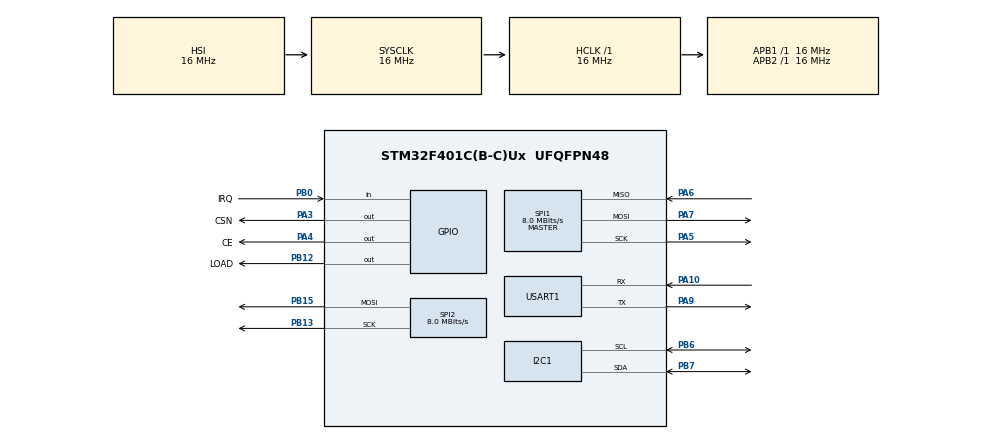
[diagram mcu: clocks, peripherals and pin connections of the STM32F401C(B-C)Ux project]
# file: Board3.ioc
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Mcu.Family=STM32F4
Mcu.Name=STM32F401C(B-C)Ux
Mcu.Package=UFQFPN48
NVIC.PriorityGroup=NVIC_PRIORITYGROUP_4
PA10.Mode=Asynchronous
PA10.Signal=USART1_RX
PA13.Mode=Serial_Wire
PA13.Signal=SYS_JTMS-SWDIO
PA14.Mode=Serial_Wire
PA14.Signal=SYS_JTCK-SWCLK
PA3.GPIO_Label=CSN
PA3.Signal=GPIO_Output
PA4.GPIO_Label=CE
PA4.Signal=GPIO_Output
PA5.Mode=Full_Duplex_Master
PA5.Signal=SPI1_SCK
PA6.Mode=Full_Duplex_Master
PA6.Signal=SPI1_MISO
PA7.Mode=Full_Duplex_Master
PA7.Signal=SPI1_MOSI
PA9.Mode=Asynchronous
PA9.Signal=USART1_TX
PB0.GPIO_Label=IRQ
PB0.Signal=GPIO_Input
PB12.GPIO_Label=LOAD
PB12.Signal=GPIO_Output
PB13.Mode=TX_Only_Simplex_Unidirect_Master
PB13.Signal=SPI2_SCK
PB15.Mode=TX_Only_Simplex_Unidirect_Master
PB15.Signal=SPI2_MOSI
PB6.Mode=I2C
PB6.Signal=I2C1_SCL
PB7.Mode=I2C
PB7.Signal=I2C1_SDA
ProjectManager.HeapSize=0x200
ProjectManager.StackSize=0x400
ProjectManager.TargetToolchain=STM32CubeIDE
RCC.AHBFreq_Value=16000000
RCC.APB1Freq_Value=16000000
RCC.APB2Freq_Value=16000000
RCC.CortexFreq_Value=16000000
RCC.HSE_VALUE=25000000
RCC.HSI_VALUE=16000000
RCC.LSE_VALUE=32768
RCC.SYSCLKFreq_VALUE=16000000
RCC.VCOOutputFreq_Value=192000000
SPI1.CalculateBaudRate=8.0 MBits/s
SPI1.Direction=SPI_DIRECTION_2LINES
SPI1.Mode=SPI_MODE_MASTER
SPI1.VirtualType=VM_MASTER
SPI2.CalculateBaudRate=8.0 MBits/s
SPI2.Direction=SPI_DIRECTION_2LINES
SPI2.Mode=SPI_MODE_MASTER
SPI2.VirtualType=VM_MASTER
USART1.VirtualMode=VM_ASYNC
board=custom

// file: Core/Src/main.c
/* USER CODE BEGIN Header */
/**
  ******************************************************************************
  * @file           : main.c
  * @brief          : Main program body
  ******************************************************************************
  * @attention
  *
  * Copyright (c) 2025 STMicroelectronics.
  * All rights reserved.
  *
  * This software is licensed under terms that can be found in the LICENSE file
  * in the root directory of this software component.
  * If no LICENSE file comes with this software, it is provided AS-IS.
  *
  ******************************************************************************
  */
/* USER CODE END Header */
#include "main.h"

/* USER CODE BEGIN Includes */
#include "NRF24L01.h"
#include "string.h"
#include "max7219.h"
#include <stdio.h>

/* USER CODE END Includes */

I2C_HandleTypeDef hi2c1;

SPI_HandleTypeDef hspi1;
SPI_HandleTypeDef hspi2;

UART_HandleTypeDef huart1;

void SystemClock_Config(void);
static void MX_GPIO_Init(void);
static void MX_I2C1_Init(void);
static void MX_SPI1_Init(void);
static void MX_USART1_UART_Init(void);
static void MX_SPI2_Init(void);

/* USER CODE BEGIN 0 */
uint8_t RxAddress[5] = {0xEE, 0xDD, 0xCC, 0xBB, 0xAA};
uint8_t RxData[32];
float recvValue;

uint8_t data[50];
/* USER CODE END 0 */

int main(void)
{

  /* MCU Configuration--------------------------------------------------------*/

  /* Reset of all peripherals, Initializes the Flash interface and the Systick. */
  HAL_Init();

  /* Configure the system clock */
  SystemClock_Config();

  /* USER CODE BEGIN SysInit */
  HAL_Delay(100);
  max7219_Init(5);
  max7219_Decode_On();
  /* USER CODE END SysInit */

  /* Initialize all configured peripherals */
  MX_GPIO_Init();
  MX_I2C1_Init();
  MX_SPI1_Init();
  MX_USART1_UART_Init();
  MX_SPI2_Init();
  /* USER CODE BEGIN 2 */
  HAL_Delay(10);
  NRF24_Init();

  NRF24_RxMode(RxAddress, 10);
  HAL_Delay(5);
//  NRF24_ReadAll(data);
  HAL_GPIO_WritePin(CE_GPIO_Port, CE_Pin, GPIO_PIN_SET);
  max7219_Init(7);
  max7219_Decode_On();

  //

  MAX7219_Digits ds[6] = { DIGIT_6, DIGIT_5, DIGIT_4, DIGIT_3, DIGIT_2, DIGIT_1 };

  for (int i = -2; i < 6 + 2; i++) {
      max7219_Clean();
      for (int j = 0; j < 3; j++) {
          int p = i - j;
          if (p >= 0 && p < 6) max7219_PrintDigit(ds[p], NUM_8, false);
      }
      HAL_Delay(150);
  }

  for (int i = 6 + 1 + 2; i >= -2; i--) {
      max7219_Clean();
      for (int j = 0; j < 3; j++) {
          int p = i - j;
          if (p >= 0 && p < 6) max7219_PrintDigit(ds[p], NUM_8, false);
      }
      HAL_Delay(150);
  }

  max7219_Clean();
  for (int i = 0; i < 6; i++)
      max7219_PrintDigit(ds[i], NUM_0, 1);
  HAL_Delay(1000);

  //////

//  HAL_Delay(5000);
  /* USER CODE END 2 */

  /* Infinite loop */
  /* USER CODE BEGIN WHILE */
  while (1)

  {

	  if (isDataAvailable(2) == 1)
	  	  {
	  		  NRF24_Receive(RxData);

//	  			sprintf(buf,sizeof(buf),"%f",recvValue);

//	  			recvValue=123.45f;

	  		  	RxData[0]='0';
  	  	  	  	max7219_Clean();

				char str[9];
				strncpy(str, (char*)RxData, sizeof(str));
				str[8] = '\0';
  	  			int i = 0;
  	  			int len = strlen(str);
  	  			memmove(str, str + 1, strlen(str));
  	  			MAX7219_Digits displayDigits[6] = {DIGIT_6, DIGIT_5, DIGIT_4, DIGIT_3, DIGIT_2,DIGIT_1};
  	  			int displayIndex = 0;

  	  			while (i < len && displayIndex < 6) {
  	  			    char ch = str[i];
  	  			    if (ch >= '0' && ch <= '9') {
  	  			        bool hasDot = (i + 1 < len && str[i + 1] == '.');
  	  			        max7219_PrintDigit(displayDigits[displayIndex], NUM_0 + (ch - '0'), hasDot);
  	  			        if (hasDot) i++;
  	  			        displayIndex++;
  	  			    } else if (ch == '.') {
  	  			    } else {
  	  			        max7219_PrintDigit(displayDigits[displayIndex], BLANK, false);
  	  			        displayIndex++;
  	  			    }

  	  			    i++;
  	  			}
	  	  }
	  	     HAL_Delay(500);

    /* USER CODE END WHILE */

  }
}

void SystemClock_Config(void)
{
  RCC_OscInitTypeDef RCC_OscInitStruct = {0};
  RCC_ClkInitTypeDef RCC_ClkInitStruct = {0};

  /** Configure the main internal regulator output voltage
  */
  __HAL_RCC_PWR_CLK_ENABLE();
  __HAL_PWR_VOLTAGESCALING_CONFIG(PWR_REGULATOR_VOLTAGE_SCALE2);

  /** Initializes the RCC Oscillators according to the specified parameters
  * in the RCC_OscInitTypeDef structure.
  */
  RCC_OscInitStruct.OscillatorType = RCC_OSCILLATORTYPE_HSI;
  RCC_OscInitStruct.HSIState = RCC_HSI_ON;
  RCC_OscInitStruct.HSICalibrationValue = RCC_HSICALIBRATION_DEFAULT;
  RCC_OscInitStruct.PLL.PLLState = RCC_PLL_NONE;
  if (HAL_RCC_OscConfig(&RCC_OscInitStruct) != HAL_OK)
  {
    Error_Handler();
  }

  /** Initializes the CPU, AHB and APB buses clocks
  */
  RCC_ClkInitStruct.ClockType = RCC_CLOCKTYPE_HCLK|RCC_CLOCKTYPE_SYSCLK
                              |RCC_CLOCKTYPE_PCLK1|RCC_CLOCKTYPE_PCLK2;
  RCC_ClkInitStruct.SYSCLKSource = RCC_SYSCLKSOURCE_HSI;
  RCC_ClkInitStruct.AHBCLKDivider = RCC_SYSCLK_DIV1;
  RCC_ClkInitStruct.APB1CLKDivider = RCC_HCLK_DIV1;
  RCC_ClkInitStruct.APB2CLKDivider = RCC_HCLK_DIV1;

  if (HAL_RCC_ClockConfig(&RCC_ClkInitStruct, FLASH_LATENCY_0) != HAL_OK)
  {
    Error_Handler();
  }
}

static void MX_I2C1_Init(void)
{

  hi2c1.Instance = I2C1;
  hi2c1.Init.ClockSpeed = 100000;
  hi2c1.Init.DutyCycle = I2C_DUTYCYCLE_2;
  hi2c1.Init.OwnAddress1 = 0;
  hi2c1.Init.AddressingMode = I2C_ADDRESSINGMODE_7BIT;
  hi2c1.Init.DualAddressMode = I2C_DUALADDRESS_DISABLE;
  hi2c1.Init.OwnAddress2 = 0;
  hi2c1.Init.GeneralCallMode = I2C_GENERALCALL_DISABLE;
  hi2c1.Init.NoStretchMode = I2C_NOSTRETCH_DISABLE;
  if (HAL_I2C_Init(&hi2c1) != HAL_OK)
  {
    Error_Handler();
  }

}

static void MX_SPI1_Init(void)
{

  /* SPI1 parameter configuration*/
  hspi1.Instance = SPI1;
  hspi1.Init.Mode = SPI_MODE_MASTER;
  hspi1.Init.Direction = SPI_DIRECTION_2LINES;
  hspi1.Init.DataSize = SPI_DATASIZE_8BIT;
  hspi1.Init.CLKPolarity = SPI_POLARITY_LOW;
  hspi1.Init.CLKPhase = SPI_PHASE_1EDGE;
  hspi1.Init.NSS = SPI_NSS_SOFT;
  hspi1.Init.BaudRatePrescaler = SPI_BAUDRATEPRESCALER_2;
  hspi1.Init.FirstBit = SPI_FIRSTBIT_MSB;
  hspi1.Init.TIMode = SPI_TIMODE_DISABLE;
  hspi1.Init.CRCCalculation = SPI_CRCCALCULATION_DISABLE;
  hspi1.Init.CRCPolynomial = 10;
  if (HAL_SPI_Init(&hspi1) != HAL_OK)
  {
    Error_Handler();
  }

}

static void MX_SPI2_Init(void)
{

  /* SPI2 parameter configuration*/
  hspi2.Instance = SPI2;
  hspi2.Init.Mode = SPI_MODE_MASTER;
  hspi2.Init.Direction = SPI_DIRECTION_2LINES;
  hspi2.Init.DataSize = SPI_DATASIZE_8BIT;
  hspi2.Init.CLKPolarity = SPI_POLARITY_LOW;
  hspi2.Init.CLKPhase = SPI_PHASE_1EDGE;
  hspi2.Init.NSS = SPI_NSS_SOFT;
  hspi2.Init.BaudRatePrescaler = SPI_BAUDRATEPRESCALER_2;
  hspi2.Init.FirstBit = SPI_FIRSTBIT_MSB;
  hspi2.Init.TIMode = SPI_TIMODE_DISABLE;
  hspi2.Init.CRCCalculation = SPI_CRCCALCULATION_DISABLE;
  hspi2.Init.CRCPolynomial = 10;
  if (HAL_SPI_Init(&hspi2) != HAL_OK)
  {
    Error_Handler();
  }

}

static void MX_USART1_UART_Init(void)
{

  huart1.Instance = USART1;
  huart1.Init.BaudRate = 115200;
  huart1.Init.WordLength = UART_WORDLENGTH_8B;
  huart1.Init.StopBits = UART_STOPBITS_1;
  huart1.Init.Parity = UART_PARITY_NONE;
  huart1.Init.Mode = UART_MODE_TX_RX;
  huart1.Init.HwFlowCtl = UART_HWCONTROL_NONE;
  huart1.Init.OverSampling = UART_OVERSAMPLING_16;
  if (HAL_UART_Init(&huart1) != HAL_OK)
  {
    Error_Handler();
  }

}

static void MX_GPIO_Init(void)
{
  GPIO_InitTypeDef GPIO_InitStruct = {0};

  /* GPIO Ports Clock Enable */
  __HAL_RCC_GPIOA_CLK_ENABLE();
  __HAL_RCC_GPIOB_CLK_ENABLE();

  /*Configure GPIO pin Output Level */
  HAL_GPIO_WritePin(GPIOA, CSN_Pin|CE_Pin, GPIO_PIN_RESET);

  /*Configure GPIO pin Output Level */
  HAL_GPIO_WritePin(LOAD_GPIO_Port, LOAD_Pin, GPIO_PIN_RESET);

  /*Configure GPIO pins : CSN_Pin CE_Pin */
  GPIO_InitStruct.Pin = CSN_Pin|CE_Pin;
  GPIO_InitStruct.Mode = GPIO_MODE_OUTPUT_PP;
  GPIO_InitStruct.Pull = GPIO_NOPULL;
  GPIO_InitStruct.Speed = GPIO_SPEED_FREQ_LOW;
  HAL_GPIO_Init(GPIOA, &GPIO_InitStruct);

  /*Configure GPIO pin : IRQ_Pin */
  GPIO_InitStruct.Pin = IRQ_Pin;
  GPIO_InitStruct.Mode = GPIO_MODE_INPUT;
  GPIO_InitStruct.Pull = GPIO_NOPULL;
  HAL_GPIO_Init(IRQ_GPIO_Port, &GPIO_InitStruct);

  /*Configure GPIO pin : LOAD_Pin */
  GPIO_InitStruct.Pin = LOAD_Pin;
  GPIO_InitStruct.Mode = GPIO_MODE_OUTPUT_PP;
  GPIO_InitStruct.Pull = GPIO_NOPULL;
  GPIO_InitStruct.Speed = GPIO_SPEED_FREQ_LOW;
  HAL_GPIO_Init(LOAD_GPIO_Port, &GPIO_InitStruct);

}

void Error_Handler(void)
{
  __disable_irq();
  while (1)
  {
  }
}
